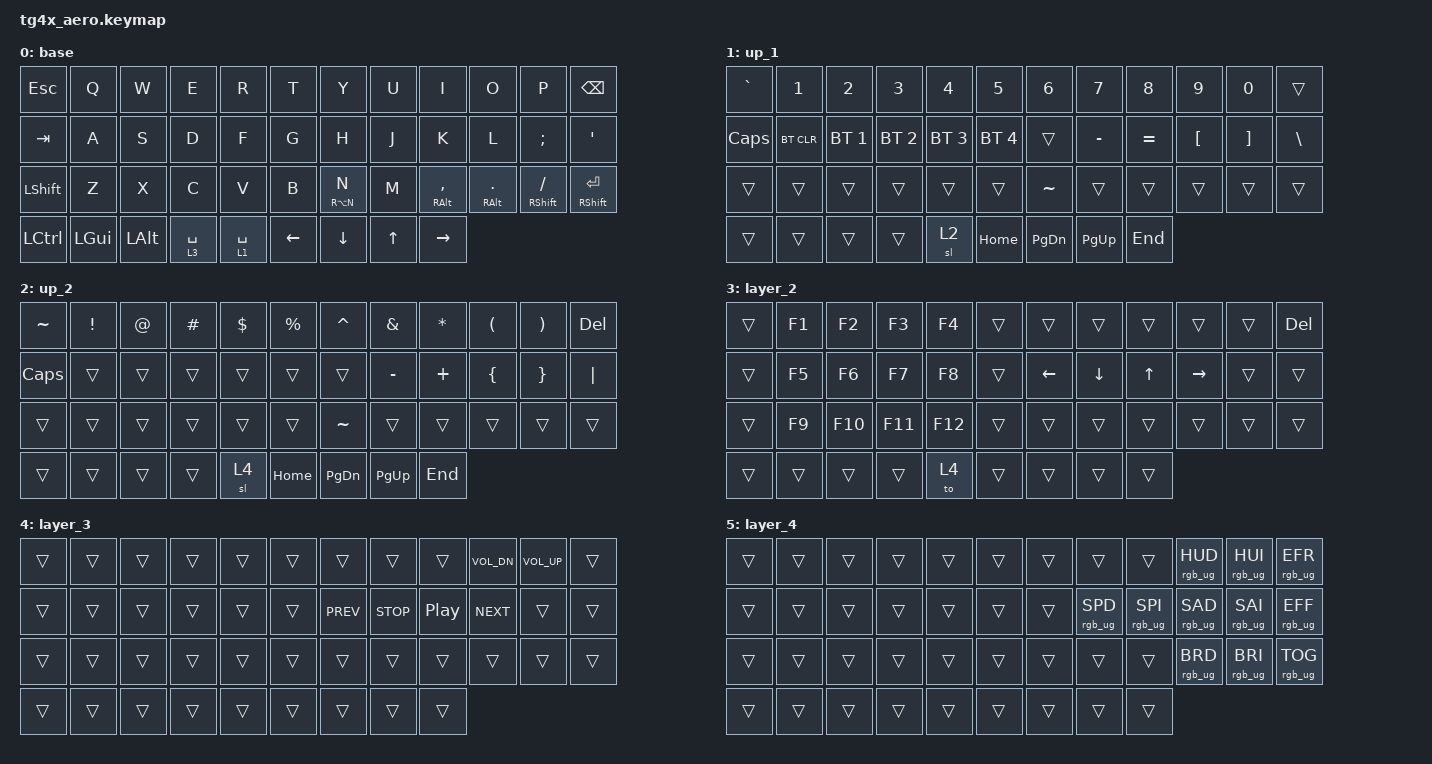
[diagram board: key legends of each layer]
/*
 * Copyright (c) 2020 The ZMK Contributors
 *
 * SPDX-License-Identifier: MIT
 */

#include <behaviors.dtsi>
#include <dt-bindings/zmk/bt.h>
#include <dt-bindings/zmk/keys.h>
#include <dt-bindings/zmk/rgb.h>

&mt { flavor = "tap-preferred"; };

/ {
    behaviors {
        ht: hold_tap {
            compatible = "zmk,behavior-hold-tap";
            #binding-cells = <2>;
            tapping-term-ms = <200>;
            flavor = "tap-preferred";
            bindings = <&kp>, <&kp>;
        };
    };

    combos {
        compatible = "zmk,combos";

        bootloader {
            bindings = <&bootloader>;
            key-positions = <40 11 0 39>;
        };

        Toggle_Under_Light {
            bindings = <&rgb_ug RGB_TOG>;
            key-positions = <36 39 40 44>;
        };
    };

    keymap {
        compatible = "zmk,keymap";

        base {
            bindings = <
&kp ESC    &kp Q     &kp W     &kp E        &kp R        &kp T     &kp Y        &kp U   &kp I           &kp O         &kp P            &kp BSPC
&kp TAB    &kp A     &kp S     &kp D        &kp F        &kp G     &kp H        &kp J   &kp K           &kp L         &kp SEMICOLON    &kp SQT
&kp LSHFT  &kp Z     &kp X     &kp C        &kp V        &kp B     &mt RA(N) N  &kp M   &mt RALT COMMA  &mt RALT DOT  &mt RSHFT SLASH  &mt RSHFT ENTER
&kp LCTRL  &kp LGUI  &kp LALT  &lt 3 SPACE  &lt 1 SPACE  &kp LEFT  &kp DOWN     &kp UP  &kp RIGHT
            >;
        };

        up_1 {
            bindings = <
&kp GRAVE  &kp N1      &kp N2        &kp N3        &kp N4        &kp N5        &kp N6     &kp N7     &kp N8     &kp N9    &kp N0    &trans
&kp CAPS   &bt BT_CLR  &bt BT_SEL 1  &bt BT_SEL 2  &bt BT_SEL 3  &bt BT_SEL 4  &trans     &kp MINUS  &kp EQUAL  &kp LBKT  &kp RBKT  &kp BSLH
&trans     &trans      &trans        &trans        &trans        &trans        &kp TILDE  &trans     &trans     &trans    &trans    &trans
&trans     &trans      &trans        &trans        &sl 2         &kp HOME      &kp PG_DN  &kp PG_UP  &kp END
            >;
        };

        up_2 {
            bindings = <
&kp TILDE  &kp EXCLAMATION  &kp AT_SIGN  &kp HASH  &kp DOLLAR  &kp PERCENT  &kp CARET  &kp AMPERSAND  &kp ASTERISK  &kp LEFT_PARENTHESIS  &kp RIGHT_PARENTHESIS  &kp DEL
&kp CAPS   &trans           &trans       &trans    &trans      &trans       &trans     &kp MINUS      &kp PLUS      &kp LEFT_BRACE        &kp RIGHT_BRACE        &kp PIPE
&trans     &trans           &trans       &trans    &trans      &trans       &kp TILDE  &trans         &trans        &trans                &trans                 &trans
&trans     &trans           &trans       &trans    &sl 4       &kp HOME     &kp PG_DN  &kp PG_UP      &kp END
            >;
        };

        layer_2 {
            bindings = <
&trans  &kp F1  &kp F2   &kp F3   &kp F4   &trans  &trans    &trans    &trans  &trans     &trans  &kp DEL
&trans  &kp F5  &kp F6   &kp F7   &kp F8   &trans  &kp LEFT  &kp DOWN  &kp UP  &kp RIGHT  &trans  &trans
&trans  &kp F9  &kp F10  &kp F11  &kp F12  &trans  &trans    &trans    &trans  &trans     &trans  &trans
&trans  &trans  &trans   &trans   &to 4    &trans  &trans    &trans    &trans
            >;
        };

        layer_3 {
            bindings = <
&trans  &trans  &trans  &trans  &trans  &trans  &trans      &trans      &trans            &kp C_VOL_DN  &kp C_VOL_UP  &trans
&trans  &trans  &trans  &trans  &trans  &trans  &kp C_PREV  &kp C_STOP  &kp C_PLAY_PAUSE  &kp C_NEXT    &trans        &trans
&trans  &trans  &trans  &trans  &trans  &trans  &trans      &trans      &trans            &trans        &trans        &trans
&trans  &trans  &trans  &trans  &trans  &trans  &trans      &trans      &trans
            >;
        };

        layer_4 {
            bindings = <
&trans  &trans  &trans  &trans  &trans  &trans  &trans  &trans           &trans           &rgb_ug RGB_HUD  &rgb_ug RGB_HUI  &rgb_ug RGB_EFR
&trans  &trans  &trans  &trans  &trans  &trans  &trans  &rgb_ug RGB_SPD  &rgb_ug RGB_SPI  &rgb_ug RGB_SAD  &rgb_ug RGB_SAI  &rgb_ug RGB_EFF
&trans  &trans  &trans  &trans  &trans  &trans  &trans  &trans           &trans           &rgb_ug RGB_BRD  &rgb_ug RGB_BRI  &rgb_ug RGB_TOG
&trans  &trans  &trans  &trans  &trans  &trans  &trans  &trans           &trans
            >;
        };
    };
};
